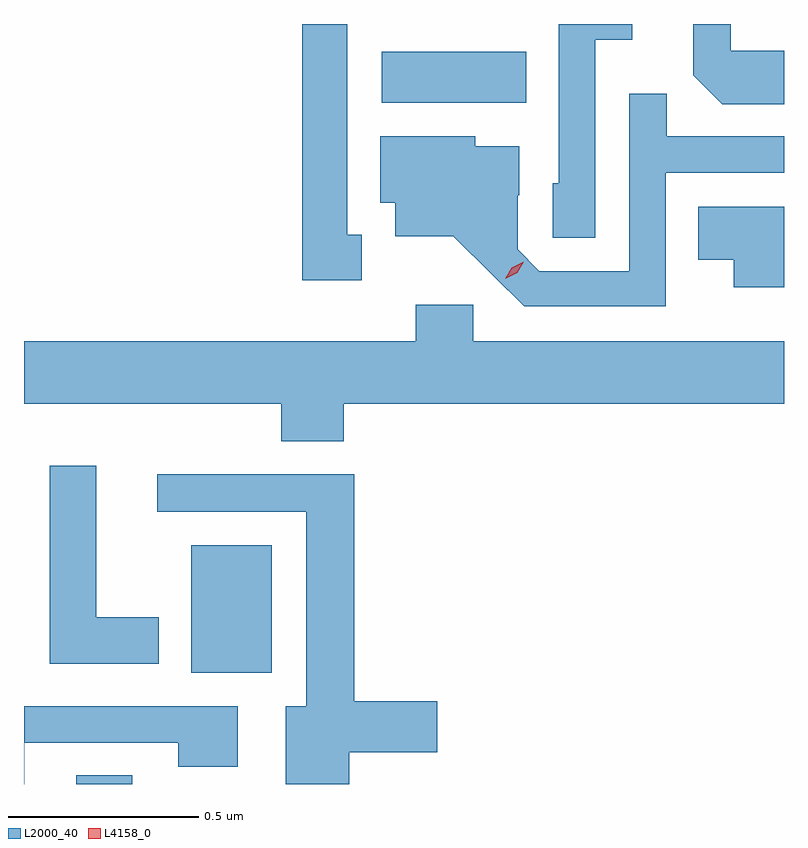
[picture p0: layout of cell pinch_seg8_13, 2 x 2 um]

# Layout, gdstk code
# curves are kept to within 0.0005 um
import gdstk
lib = gdstk.Library(unit=1e-6, precision=1e-09)
def R(c, l, rs):  # rectangles x0, y0, x1, y1
    for r in rs: c.add(gdstk.rectangle(r[:2], r[2:], *l))
def P(c, l, *ps):  # polygons
    for p in ps: c.add(gdstk.Polygon(p, *l))
L2000_40 = (2000, 40)
L4158_0 = (4158, 0)

pinch_seg8_13 = lib.new_cell('pinch_seg8_13')
R(pinch_seg8_13, L2000_40, [(1033.895,1123.491,1034.043,1123.514), (1034.198,1123.784,1034.41,1124.119), (1034.7,1125.284,1035.08,1125.418)])
P(pinch_seg8_13, L2000_40, [(1034.647,1124.937),(1034.608,1124.937),(1034.608,1125.491),(1034.49,1125.491),(1034.49,1124.817),(1034.647,1124.817)],
  [(1035.758,1125.42),(1035.618,1125.42),(1035.618,1125.491),(1035.519,1125.491),(1035.519,1125.356),(1035.595,1125.28),(1035.758,1125.28)],
  [(1035.261,1125.449),(1035.358,1125.449),(1035.358,1125.491),(1035.165,1125.491),(1035.165,1125.072),(1035.15,1125.072),(1035.15,1124.929),(1035.261,1124.929)],
  [(1035.447,1125.099),(1035.758,1125.099),(1035.758,1125.195),(1035.449,1125.195),(1035.449,1125.308),(1035.351,1125.308),(1035.351,1124.841),(1035.114,1124.841),(1035.057,1124.898),(1035.057,1125.04),(1035.061,1125.04),(1035.061,1125.169),(1034.946,1125.169),(1034.946,1125.196),(1034.696,1125.196),(1034.696,1125.02),(1034.735,1125.02),(1034.735,1124.933),(1034.887,1124.933),(1035.074,1124.748),(1035.447,1124.748)],
  [(1035.758,1125.01),(1035.532,1125.01),(1035.532,1124.87),(1035.626,1124.87),(1035.626,1124.798),(1035.758,1124.798)],
  [(1035.758,1124.656),(1034.94,1124.656),(1034.94,1124.752),(1034.789,1124.752),(1034.789,1124.656),(1033.758,1124.656),(1033.758,1124.492),(1034.435,1124.492),(1034.435,1124.393),(1034.6,1124.393),(1034.6,1124.492),(1035.758,1124.492)],
  [(1034.113,1123.93),(1033.948,1123.93),(1033.948,1124.329),(1033.826,1124.329),(1033.826,1123.808),(1034.113,1123.808)],
  [(1034.614,1123.574),(1034.845,1123.574),(1034.845,1123.709),(1034.627,1123.709),(1034.627,1124.306),(1034.109,1124.306),(1034.109,1124.208),(1034.501,1124.208),(1034.501,1123.696),(1034.447,1123.696),(1034.447,1123.491),(1034.614,1123.491)],
  [(1033.759,1123.599),(1034.164,1123.599),(1034.164,1123.536),(1034.32,1123.536),(1034.32,1123.695),(1033.758,1123.695),(1033.758,1123.491),(1033.759,1123.491)])
P(pinch_seg8_13, L4158_0, [(1035.025,1124.82),(1035.025,1124.821),(1035.042,1124.85),(1035.073,1124.865),(1035.073,1124.865),(1035.073,1124.865),(1035.056,1124.836),(1035.025,1124.82)])

lib.write_gds('pinch_seg8_13.gds')
